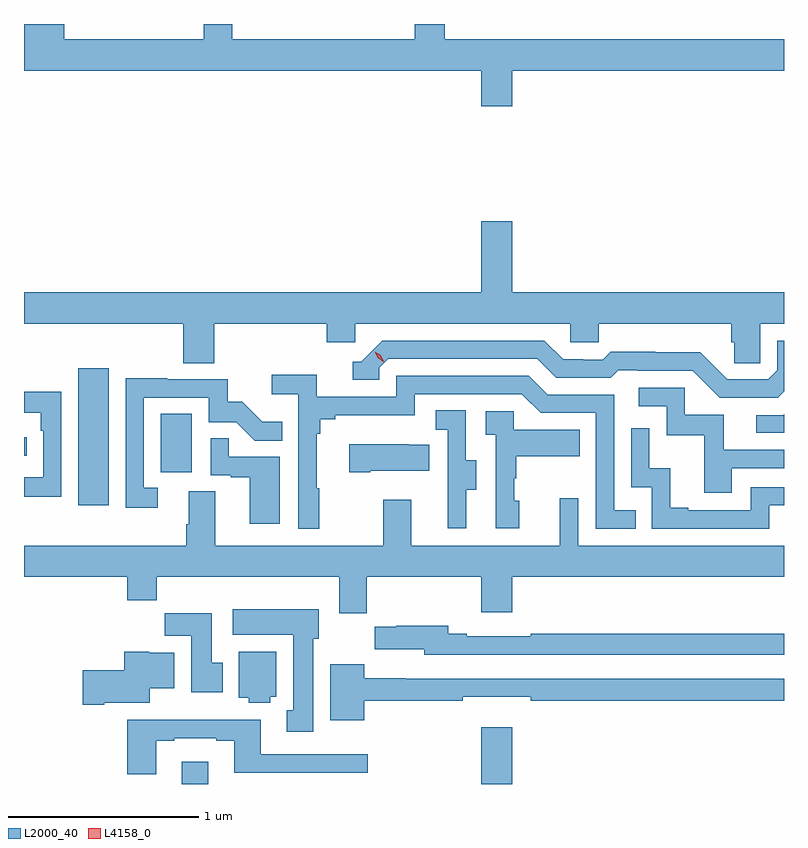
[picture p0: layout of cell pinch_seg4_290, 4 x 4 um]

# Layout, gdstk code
import gdstk
lib = gdstk.Library(unit=1e-6, precision=1e-09)
def R(c, l, rs):  # rectangles x0, y0, x1, y1
    for r in rs: c.add(gdstk.rectangle(r[:2], r[2:], *l))
def P(c, l, *ps):  # polygons
    for p in ps: c.add(gdstk.Polygon(p, *l))
L2000_40 = (2000, 40)
L4158_0 = (4158, 0)

pinch_seg4_290 = lib.new_cell('pinch_seg4_290')
R(pinch_seg4_290, L2000_40, [(930.665,797.061,930.805,797.179), (932.24,797.061,932.404,797.359), (930.119,798.528,930.28,799.249), (930.554,798.702,930.718,799.009), (929.834,798.789,929.848,798.885)])
P(pinch_seg4_290, L2000_40, [(932.404,800.816),(933.834,800.816),(933.834,800.98),(932.048,800.98),(932.048,801.061),(931.891,801.061),(931.891,800.98),(930.931,800.98),(930.931,801.061),(930.779,801.061),(930.779,800.98),(930.046,800.98),(930.046,801.061),(929.834,801.061),(929.834,800.816),(932.24,800.816),(932.24,800.628),(932.404,800.628)],
  [(930.836,799.484),(931.427,799.484),(931.427,799.386),(931.578,799.386),(931.578,799.484),(932.709,799.484),(932.709,799.386),(932.859,799.386),(932.859,799.484),(933.557,799.484),(933.557,799.386),(933.571,799.386),(933.571,799.276),(933.708,799.276),(933.708,799.484),(933.834,799.484),(933.834,799.648),(932.404,799.648),(932.404,800.023),(932.24,800.023),(932.24,799.648),(929.834,799.648),(929.834,799.484),(930.671,799.484),(930.671,799.276),(930.836,799.276)],
  [(933.834,799.128),(933.834,799.395),(933.798,799.395),(933.798,799.239),(933.75,799.191),(933.534,799.191),(933.392,799.333),(933.156,799.333),(933.156,799.336),(932.923,799.336),(932.881,799.293),(932.778,799.293),(932.778,799.296),(932.671,799.296),(932.572,799.395),(931.719,799.395),(931.608,799.284),(931.565,799.284),(931.565,799.188),(931.704,799.188),(931.704,799.251),(931.752,799.299),(932.535,799.299),(932.634,799.2),(932.923,799.2),(932.962,799.239),(933.061,799.239),(933.061,799.236),(933.354,799.236),(933.495,799.095),(933.801,799.095)],
  [(931.387,798.617),(931.375,798.617),(931.375,798.905),(931.394,798.905),(931.394,798.982),(931.471,798.982),(931.471,799.001),(931.89,799.001),(931.89,799.113),(932.454,799.113),(932.553,799.014),(932.844,799.014),(932.844,798.405),(933.053,798.405),(933.053,798.501),(932.94,798.501),(932.94,799.11),(932.59,799.11),(932.491,799.209),(931.794,799.209),(931.794,799.098),(931.376,799.098),(931.376,799.214),(931.137,799.214),(931.137,799.112),(931.278,799.112),(931.278,798.405),(931.387,798.405)],
  [(930.538,798.621),(930.465,798.621),(930.465,799.095),(930.807,799.095),(930.807,798.966),(930.951,798.966),(931.049,798.868),(931.193,798.868),(931.193,798.967),(931.089,798.967),(930.982,799.074),(930.906,799.074),(930.906,799.191),(930.587,799.191),(930.587,799.196),(930.369,799.196),(930.369,798.516),(930.538,798.516)],
  [(933.559,798.723),(933.834,798.723),(933.834,798.819),(933.517,798.819),(933.517,799.005),(933.312,799.005),(933.312,799.146),(933.069,799.146),(933.069,799.05),(933.216,799.05),(933.216,798.897),(933.415,798.897),(933.415,798.594),(933.559,798.594)],
  [(930.03,799.126),(929.834,799.126),(929.834,799.016),(929.921,799.016),(929.921,798.92),(929.934,798.92),(929.934,798.675),(929.834,798.675),(929.834,798.574),(930.03,798.574)],
  [(932.161,798.61),(932.215,798.61),(932.215,798.765),(932.16,798.765),(932.16,799.028),(932.001,799.028),(932.001,798.925),(932.064,798.925),(932.064,798.621),(932.063,798.621),(932.063,798.408),(932.161,798.408)],
  [(932.44,798.552),(932.415,798.552),(932.415,798.671),(932.425,798.671),(932.425,798.785),(932.759,798.785),(932.759,798.925),(932.412,798.925),(932.412,799.023),(932.265,799.023),(932.265,798.899),(932.316,798.899),(932.316,798.408),(932.44,798.408)],
  [(933.834,799.008),(933.828,799.002),(933.687,799.002),(933.687,798.909),(933.834,798.909)],
  [(933.756,798.528),(933.834,798.528),(933.834,798.624),(933.66,798.624),(933.66,798.501),(933.331,798.501),(933.331,798.514),(933.236,798.514),(933.236,798.722),(933.126,798.722),(933.126,798.934),(933.03,798.934),(933.03,798.624),(933.138,798.624),(933.138,798.405),(933.756,798.405)],
  [(931.18,798.783),(930.911,798.783),(930.911,798.881),(930.816,798.881),(930.816,798.687),(930.923,798.687),(930.923,798.675),(931.022,798.675),(931.022,798.432),(931.18,798.432)],
  [(931.657,798.71),(931.967,798.71),(931.967,798.847),(931.859,798.847),(931.859,798.85),(931.545,798.85),(931.545,798.703),(931.657,798.703)],
  [(931.639,798.152),(932.24,798.152),(932.24,797.964),(932.404,797.964),(932.404,798.152),(933.834,798.152),(933.834,798.316),(932.751,798.316),(932.751,798.565),(932.654,798.565),(932.654,798.316),(931.873,798.316),(931.873,798.556),(931.726,798.556),(931.726,798.316),(930.841,798.316),(930.841,798.602),(930.701,798.602),(930.701,798.428),(930.689,798.428),(930.689,798.316),(929.834,798.316),(929.834,798.152),(930.377,798.152),(930.377,798.028),(930.533,798.028),(930.533,798.152),(931.493,798.152),(931.493,797.959),(931.639,797.959)],
  [(931.357,797.826),(931.384,797.826),(931.384,797.98),(930.933,797.98),(930.933,797.846),(931.25,797.846),(931.25,797.45),(931.217,797.45),(931.217,797.337),(931.357,797.337)],
  [(930.88,797.7),(930.823,797.7),(930.823,797.959),(930.574,797.959),(930.574,797.84),(930.713,797.84),(930.713,797.544),(930.88,797.544)],
  [(933.834,797.851),(932.5,797.851),(932.5,797.838),(932.164,797.838),(932.164,797.851),(932.068,797.851),(932.068,797.893),(931.792,797.893),(931.792,797.889),(931.681,797.889),(931.681,797.771),(931.94,797.771),(931.94,797.742),(933.834,797.742)],
  [(930.256,797.489),(930.496,797.489),(930.496,797.564),(930.625,797.564),(930.625,797.752),(930.492,797.752),(930.492,797.758),(930.362,797.758),(930.362,797.66),(930.144,797.66),(930.144,797.477),(930.256,797.477)],
  [(931.131,797.52),(931.162,797.52),(931.162,797.758),(930.965,797.758),(930.965,797.516),(931.017,797.516),(931.017,797.489),(931.131,797.489)],
  [(931.624,797.5),(932.144,797.5),(932.144,797.519),(932.5,797.519),(932.5,797.5),(933.834,797.5),(933.834,797.616),(931.844,797.616),(931.844,797.617),(931.624,797.617),(931.624,797.692),(931.445,797.692),(931.445,797.396),(931.624,797.396)],
  [(930.529,797.289),(930.625,797.289),(930.625,797.301),(930.845,797.301),(930.845,797.289),(930.941,797.289),(930.941,797.12),(931.642,797.12),(931.642,797.217),(931.081,797.217),(931.081,797.398),(930.377,797.398),(930.377,797.112),(930.529,797.112)])
P(pinch_seg4_290, L4158_0, [(931.726,799.283),(931.696,799.304),(931.681,799.337),(931.681,799.337),(931.681,799.337),(931.711,799.317),(931.727,799.284),(931.727,799.283)])

lib.write_gds('pinch_seg4_290.gds')
